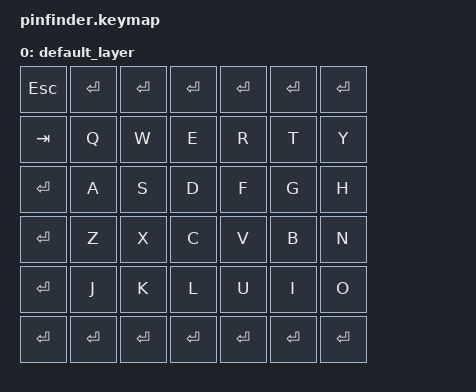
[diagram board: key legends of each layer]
/*
 * Copyright (c) 2020 The ZMK Contributors
 *
 * SPDX-License-Identifier: MIT
 */

#include <behaviors.dtsi>
#include <dt-bindings/zmk/keys.h>
#include <dt-bindings/zmk/bt.h>

#define DEF 0
// #define LWR 1
// #define RSE 2
// #define ADJ 3

&lt { quick_tap_ms = <200>; };
&mt { quick_tap_ms = <200>; };

/ {
    keymap {
        compatible = "zmk,keymap";
        
        // pin test layer
    //     default_layer {
    //         bindings = <
    // &kp A   &kp B   &kp C   &kp D   &kp E   &kp F   &kp G
    // &kp H   &kp RET &kp RET &kp RET &kp RET &kp RET &kp V
    // &kp J   &kp RET &kp RET &kp RET &kp RET &kp RET &kp W
    // &kp K   &kp RET &kp RET &kp RET &kp RET &kp RET &kp X
    // &kp L   &kp RET &kp RET &kp RET &kp RET &kp RET &kp Y
    // &kp M   &kp N   &kp O   &kp P   &kp Q   &kp R   &kp Z
    //             >;
    //     };

        // diode test layer
        default_layer {
            bindings = <
    &kp ESC &kp RET &kp RET &kp RET &kp RET &kp RET &kp RET
    &kp TAB &kp Q   &kp W   &kp E   &kp R   &kp T   &kp Y
    &kp RET &kp A   &kp S   &kp D   &kp F   &kp G   &kp H
    &kp RET &kp Z   &kp X   &kp C   &kp V   &kp B   &kp N
    &kp RET &kp J   &kp K   &kp L   &kp U   &kp I   &kp O
    &kp RET &kp RET &kp RET &kp RET &kp RET &kp RET &kp RET
                >;
        };
    };
};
